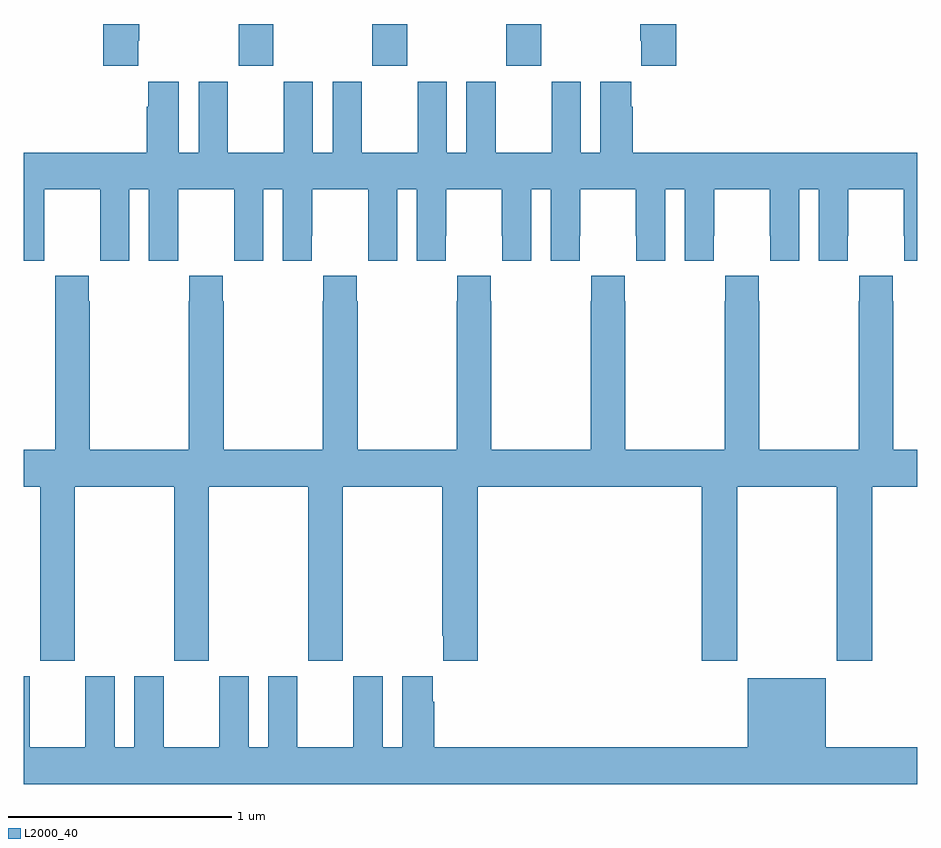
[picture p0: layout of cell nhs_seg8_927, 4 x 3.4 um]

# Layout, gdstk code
import gdstk
lib = gdstk.Library(unit=1e-6, precision=1e-09)
def R(c, l, rs):  # rectangles x0, y0, x1, y1
    for r in rs: c.add(gdstk.rectangle(r[:2], r[2:], *l))
def A(c, l, x, y, w, h, nx, ny, dx, dy):  # array of equal rectangles
    R(c, l, [(x+i*dx, y+j*dy, x+i*dx+w, y+j*dy+h) for i in range(nx) for j in range(ny)])
def P(c, l, *ps):  # polygons
    for p in ps: c.add(gdstk.Polygon(p, *l))
L2000_40 = (2000, 40)

nhs_seg8_927 = lib.new_cell('nhs_seg8_927')
A(nhs_seg8_927, L2000_40, 171.961, 1123.713, 0.155, 0.187, 3, 1, 0.6, 0)
P(nhs_seg8_927, L2000_40, [(173.921,1123.9),(173.761,1123.9),(173.761,1123.825),(173.765,1123.825),(173.765,1123.713),(173.921,1123.713)],
  [(171.511,1123.825),(171.516,1123.825),(171.516,1123.9),(171.356,1123.9),(171.356,1123.713),(171.511,1123.713)],
  [(172.513,1123.642),(172.382,1123.642),(172.382,1123.324),(172.294,1123.324),(172.294,1123.642),(172.163,1123.642),(172.163,1123.324),(171.913,1123.324),(171.913,1123.642),(171.782,1123.642),(171.782,1123.324),(171.694,1123.324),(171.694,1123.642),(171.557,1123.642),(171.557,1123.529),(171.551,1123.529),(171.551,1123.324),(171,1123.324),(171,1122.84),(171.09,1122.84),(171.09,1122.952),(171.091,1122.952),(171.091,1123.16),(171.341,1123.16),(171.341,1122.952),(171.342,1122.952),(171.342,1122.84),(171.472,1122.84),(171.472,1123.16),(171.56,1123.16),(171.56,1122.84),(171.69,1122.84),(171.69,1122.952),(171.691,1122.952),(171.691,1123.16),(171.941,1123.16),(171.941,1122.952),(171.942,1122.952),(171.942,1122.84),(172.072,1122.84),(172.072,1123.16),(172.16,1123.16),(172.16,1122.84),(172.29,1122.84),(172.29,1122.952),(172.291,1122.952),(172.291,1123.16),(172.541,1123.16),(172.541,1122.952),(172.542,1122.952),(172.542,1122.84),(172.672,1122.84),(172.672,1123.16),(172.76,1123.16),(172.76,1122.84),(172.89,1122.84),(172.89,1122.952),(172.891,1122.952),(172.891,1123.16),(173.141,1123.16),(173.141,1122.952),(173.142,1122.952),(173.142,1122.84),(173.272,1122.84),(173.272,1123.16),(173.36,1123.16),(173.36,1122.84),(173.49,1122.84),(173.49,1122.952),(173.491,1122.952),(173.491,1123.16),(173.741,1123.16),(173.741,1122.952),(173.742,1122.952),(173.742,1122.84),(173.872,1122.84),(173.872,1123.16),(173.96,1123.16),(173.96,1122.84),(174.09,1122.84),(174.09,1122.952),(174.091,1122.952),(174.091,1123.16),(174.341,1123.16),(174.341,1122.952),(174.342,1122.952),(174.342,1122.84),(174.472,1122.84),(174.472,1123.16),(174.56,1123.16),(174.56,1122.84),(174.69,1122.84),(174.69,1122.952),(174.691,1122.952),(174.691,1123.16),(174.941,1123.16),(174.941,1122.952),(174.942,1122.952),(174.942,1122.84),(175,1122.84),(175,1123.324),(173.726,1123.324),(173.726,1123.529),(173.719,1123.529),(173.719,1123.642),(173.582,1123.642),(173.582,1123.324),(173.494,1123.324),(173.494,1123.642),(173.363,1123.642),(173.363,1123.324),(173.113,1123.324),(173.113,1123.642),(172.982,1123.642),(172.982,1123.324),(172.894,1123.324),(172.894,1123.642),(172.763,1123.642),(172.763,1123.324),(172.513,1123.324)],
  [(171.228,1121.828),(171.673,1121.828),(171.673,1121.049),(171.828,1121.049),(171.828,1121.828),(172.273,1121.828),(172.273,1121.049),(172.428,1121.049),(172.428,1121.828),(172.873,1121.828),(172.873,1121.161),(172.877,1121.161),(172.877,1121.049),(173.033,1121.049),(173.033,1121.828),(174.035,1121.828),(174.035,1121.049),(174.195,1121.049),(174.195,1121.828),(174.64,1121.828),(174.64,1121.049),(174.8,1121.049),(174.8,1121.828),(175,1121.828),(175,1121.992),(174.894,1121.992),(174.894,1122.659),(174.891,1122.659),(174.891,1122.772),(174.741,1122.772),(174.741,1122.659),(174.739,1122.659),(174.739,1121.992),(174.294,1121.992),(174.294,1122.659),(174.291,1122.659),(174.291,1122.772),(174.141,1122.772),(174.141,1122.659),(174.139,1122.659),(174.139,1121.992),(173.694,1121.992),(173.694,1122.659),(173.691,1122.659),(173.691,1122.772),(173.541,1122.772),(173.541,1122.659),(173.539,1122.659),(173.539,1121.992),(173.094,1121.992),(173.094,1122.659),(173.091,1122.659),(173.091,1122.772),(172.941,1122.772),(172.941,1122.659),(172.939,1122.659),(172.939,1121.992),(172.494,1121.992),(172.494,1122.659),(172.491,1122.659),(172.491,1122.772),(172.341,1122.772),(172.341,1122.659),(172.339,1122.659),(172.339,1121.992),(171.894,1121.992),(171.894,1122.659),(171.891,1122.659),(171.891,1122.772),(171.741,1122.772),(171.741,1122.659),(171.739,1122.659),(171.739,1121.992),(171.294,1121.992),(171.294,1122.659),(171.291,1122.659),(171.291,1122.772),(171.141,1122.772),(171.141,1122.659),(171.139,1122.659),(171.139,1121.992),(171,1121.992),(171,1121.828),(171.073,1121.828),(171.073,1121.049),(171.228,1121.049)],
  [(175,1120.66),(174.592,1120.66),(174.592,1120.969),(174.242,1120.969),(174.242,1120.66),(172.838,1120.66),(172.838,1120.865),(172.831,1120.865),(172.831,1120.978),(172.694,1120.978),(172.694,1120.66),(172.606,1120.66),(172.606,1120.978),(172.475,1120.978),(172.475,1120.66),(172.225,1120.66),(172.225,1120.978),(172.094,1120.978),(172.094,1120.66),(172.006,1120.66),(172.006,1120.978),(171.875,1120.978),(171.875,1120.66),(171.625,1120.66),(171.625,1120.978),(171.494,1120.978),(171.494,1120.66),(171.406,1120.66),(171.406,1120.978),(171.275,1120.978),(171.275,1120.66),(171.025,1120.66),(171.025,1120.978),(171,1120.978),(171,1120.496),(175,1120.496)])

lib.write_gds('nhs_seg8_927.gds')
